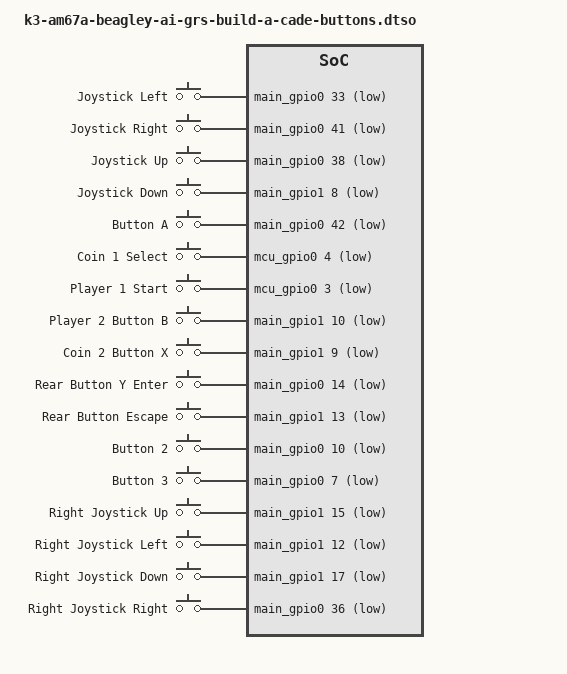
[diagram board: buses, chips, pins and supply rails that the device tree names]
// SPDX-License-Identifier: GPL-2.0-only OR MIT
/*
 * GRS Build-A-Cade controls on the BeagleY-AI 40-pin connector.
 *
 * The cabinet wires its controls to Raspberry Pi physical header positions.
 * This mapping follows the GRS retrogame.cfg reference configuration.
 */

/dts-v1/;
/plugin/;

#include <dt-bindings/gpio/gpio.h>
#include <dt-bindings/input/input.h>
#include "k3-pinctrl.h"

&{/} {
	grs_arcade_keys: grs-arcade-keys {
		compatible = "gpio-keys";
		pinctrl-names = "default";
		pinctrl-0 = <&grs_arcade_keys_pins
			     &grs_arcade_mcu_keys_pins>;
		label = "GRS Build-A-Cade controls";

		joystick-left {
			label = "Joystick Left";
			gpios = <&main_gpio0 33 GPIO_ACTIVE_LOW>;
			linux,code = <KEY_LEFT>;
			debounce-interval = <10>;
		};

		joystick-right {
			label = "Joystick Right";
			gpios = <&main_gpio0 41 GPIO_ACTIVE_LOW>;
			linux,code = <KEY_RIGHT>;
			debounce-interval = <10>;
		};

		joystick-up {
			label = "Joystick Up";
			gpios = <&main_gpio0 38 GPIO_ACTIVE_LOW>;
			linux,code = <KEY_UP>;
			debounce-interval = <10>;
		};

		joystick-down {
			label = "Joystick Down";
			gpios = <&main_gpio1 8 GPIO_ACTIVE_LOW>;
			linux,code = <KEY_DOWN>;
			debounce-interval = <10>;
		};

		button-a {
			label = "Button A";
			gpios = <&main_gpio0 42 GPIO_ACTIVE_LOW>;
			linux,code = <KEY_LEFTCTRL>;
			debounce-interval = <10>;
		};

		button-select {
			label = "Coin 1 Select";
			gpios = <&mcu_gpio0 4 GPIO_ACTIVE_LOW>;
			linux,code = <KEY_5>;
			debounce-interval = <10>;
		};

		button-start {
			label = "Player 1 Start";
			gpios = <&mcu_gpio0 3 GPIO_ACTIVE_LOW>;
			linux,code = <KEY_1>;
			debounce-interval = <10>;
		};

		button-b {
			label = "Player 2 Button B";
			gpios = <&main_gpio1 10 GPIO_ACTIVE_LOW>;
			linux,code = <KEY_2>;
			debounce-interval = <10>;
		};

		button-x {
			label = "Coin 2 Button X";
			gpios = <&main_gpio1 9 GPIO_ACTIVE_LOW>;
			linux,code = <KEY_6>;
			debounce-interval = <10>;
		};

		button-y {
			label = "Rear Button Y Enter";
			gpios = <&main_gpio0 14 GPIO_ACTIVE_LOW>;
			linux,code = <KEY_ENTER>;
			debounce-interval = <10>;
		};

		button-escape {
			label = "Rear Button Escape";
			gpios = <&main_gpio1 13 GPIO_ACTIVE_LOW>;
			linux,code = <KEY_ESC>;
			debounce-interval = <10>;
		};

		button-2 {
			label = "Button 2";
			gpios = <&main_gpio0 10 GPIO_ACTIVE_LOW>;
			linux,code = <KEY_LEFTALT>;
			debounce-interval = <10>;
		};

		button-3 {
			label = "Button 3";
			gpios = <&main_gpio0 7 GPIO_ACTIVE_LOW>;
			linux,code = <KEY_SPACE>;
			debounce-interval = <10>;
		};

		right-joystick-up {
			label = "Right Joystick Up";
			gpios = <&main_gpio1 15 GPIO_ACTIVE_LOW>;
			linux,code = <KEY_I>;
			debounce-interval = <10>;
		};

		right-joystick-left {
			label = "Right Joystick Left";
			gpios = <&main_gpio1 12 GPIO_ACTIVE_LOW>;
			linux,code = <KEY_J>;
			debounce-interval = <10>;
		};

		right-joystick-down {
			label = "Right Joystick Down";
			gpios = <&main_gpio1 17 GPIO_ACTIVE_LOW>;
			linux,code = <KEY_K>;
			debounce-interval = <10>;
		};

		right-joystick-right {
			label = "Right Joystick Right";
			gpios = <&main_gpio0 36 GPIO_ACTIVE_LOW>;
			linux,code = <KEY_L>;
			debounce-interval = <10>;
		};
	};
};

&main_pmx0 {
	grs_arcade_keys_pins: grs-arcade-keys-pins {
		pinctrl-single,pins = <
			J722S_IOPAD(0x009c, PIN_INPUT_PULLUP, 7) /* GPIO0_38: BCM4 */
			J722S_IOPAD(0x0198, PIN_INPUT_PULLUP, 7) /* GPIO1_8: BCM17 */
			J722S_IOPAD(0x0088, PIN_INPUT_PULLUP, 7) /* GPIO0_33: BCM27 */
			J722S_IOPAD(0x00a8, PIN_INPUT_PULLUP, 7) /* GPIO0_41: BCM22 */
			J722S_IOPAD(0x01b4, PIN_INPUT_PULLUP, 7) /* GPIO1_15: BCM5 */
			J722S_IOPAD(0x01bc, PIN_INPUT_PULLUP, 7) /* GPIO1_17: BCM6 */
			J722S_IOPAD(0x01a8, PIN_INPUT_PULLUP, 7) /* GPIO1_12: BCM19 */
			J722S_IOPAD(0x0094, PIN_INPUT_PULLUP, 7) /* GPIO0_36: BCM26 */
			J722S_IOPAD(0x0038, PIN_INPUT_PULLUP, 7) /* GPIO0_14: BCM14 */
			J722S_IOPAD(0x01ac, PIN_INPUT_PULLUP, 7) /* GPIO1_13: BCM15 */
			J722S_IOPAD(0x001c, PIN_INPUT_PULLUP, 7) /* GPIO0_7: BCM23 */
			J722S_IOPAD(0x0028, PIN_INPUT_PULLUP, 7) /* GPIO0_10: BCM24 */
			J722S_IOPAD(0x00ac, PIN_INPUT_PULLUP, 7) /* GPIO0_42: BCM25 */
			J722S_IOPAD(0x01a0, PIN_INPUT_PULLUP, 7) /* GPIO1_10: BCM20 */
			J722S_IOPAD(0x019c, PIN_INPUT_PULLUP, 7) /* GPIO1_9: BCM21 */
		>;
	};
};

&mcu_pmx0 {
	grs_arcade_mcu_keys_pins: grs-arcade-mcu-keys-pins {
		pinctrl-single,pins = <
			J722S_MCU_IOPAD(0x000c, PIN_INPUT_PULLUP, 7) /* MCU_GPIO0_3: BCM10 */
			J722S_MCU_IOPAD(0x0010, PIN_INPUT_PULLUP, 7) /* MCU_GPIO0_4: BCM9 */
		>;
	};
};
